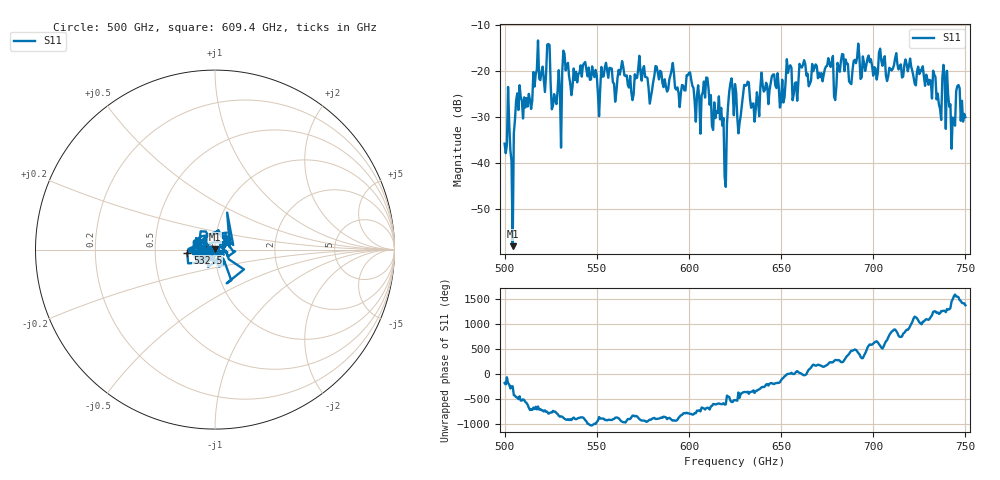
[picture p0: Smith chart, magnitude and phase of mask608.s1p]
!Created with skrf (http://scikit-rf.org).
# GHz S MA R 50.0
!freq magS11 angS11
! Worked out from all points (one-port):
!   401 points, 500 GHz to 750 GHz, reference 50 ohm
!   lowest |S11| = -58.0 dB at 504.4 GHz (marker M1), VSWR 1.00, Z = 49.9 + j0.113 ohm
!   |S11| at or under -10 dB: start of sweep to end of sweep
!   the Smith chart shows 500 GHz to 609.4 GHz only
!   S11 on the Smith chart (normalised r, x): 500 GHz: 0.97, -0.00; 532.5 GHz: 0.73, -0.03; 609.4 GHz: 1.14, +0.12
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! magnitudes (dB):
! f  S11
! 500 GHz  -35.7
! 502.5 GHz  -31.3
! 504.4 GHz  -58.0
! 506.9 GHz  -24.8
! 513.8 GHz  -26.2
! 516.9 GHz  -20.7
! 523.8 GHz  -14.0
! 526.9 GHz  -24.9
! 531.2 GHz  -20.2
! 532.5 GHz  -16.2
! 550.6 GHz  -24.8
! 562.5 GHz  -20.7
! 593.8 GHz  -23.5
! 600 GHz  -20.3
! 605 GHz  -23.0
! 609.4 GHz  -21.3
! 617.5 GHz  -27.9
! 619.4 GHz  -42.9
! 622.5 GHz  -22.6
! 625 GHz  -22.8
! 627.5 GHz  -31.2
! 631.2 GHz  -23.1
! 635 GHz  -27.0
! 656.2 GHz  -26.3
! 687.5 GHz  -22.5
! 691.2 GHz  -17.0
! 718.8 GHz  -20.0
! 750 GHz  -30.0
